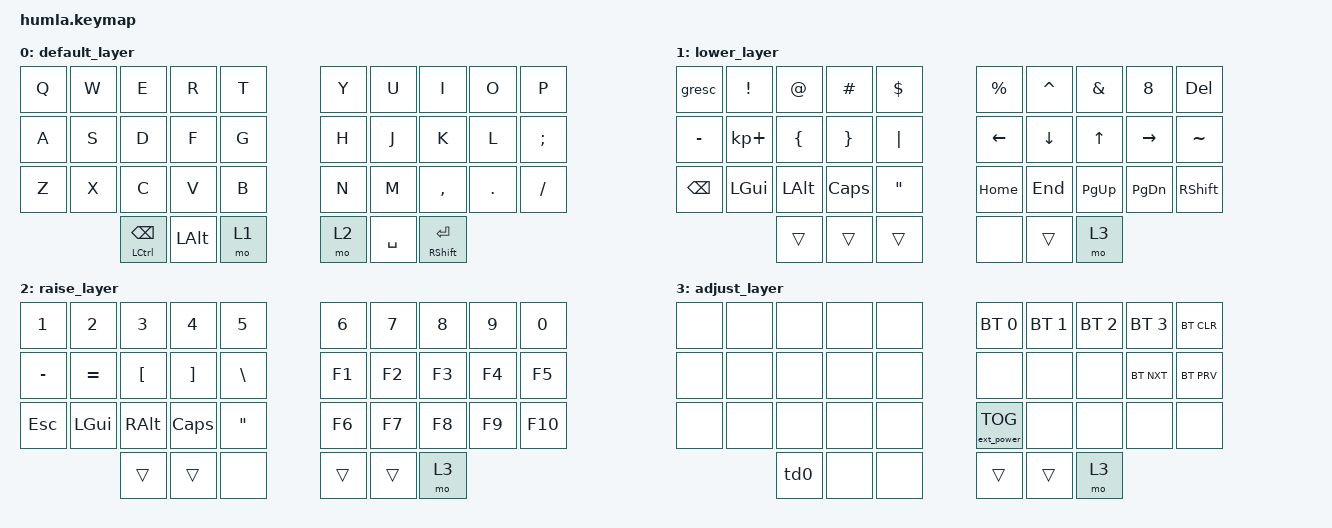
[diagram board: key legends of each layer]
/*
   # Copyright (c) 2023 The ZMK Contributors
   # SPDX-License-Identifier: MIT
 */

#include <behaviors.dtsi>
#include <dt-bindings/zmk/keys.h>
#include <dt-bindings/zmk/bt.h>
#include <dt-bindings/zmk/ext_power.h>

/ {
        behaviors {
            td0: tap_dance_0 {
               compatible = "zmk,behavior-tap-dance";
               label = "TAP_DANCE_0";
               #binding-cells = <0>;
               tapping-term-ms = <200>;
               bindings = <&kp ESC>, <&reset>, <&bootloader>, <&kp ESC>;
            };
        };

        keymap {
                compatible = "zmk,keymap";

                default_layer {
// --------------------------------------------------------------------
// |  Q  |  W  |  E  |  R  |  T    /  \    Y  |  U   |  I  |  O  |  P  |
// |  A  |  S  |  D  |  F  |  G   /    \   H  |  J   |  K  |  L  |  ;  |
// |  Z  |  X  |  C  |  V  |  B  /      \  N  |  M   |  ,  |  .  |  /  |
//             | LCTL(BKSP) | LALT |LWR | RSE | SPC  | LSHFT(RET) |
                        bindings = <
   &kp Q &kp W &kp E &kp R &kp T          &kp Y &kp U   &kp I     &kp O   &kp P
   &kp A &kp S &kp D &kp F &kp G          &kp H &kp J   &kp K     &kp L   &kp SEMI
   &kp Z &kp X &kp C &kp V &kp B          &kp N &kp M   &kp COMMA &kp DOT &kp FSLH
               &mt LCTL BSPC &kp LALT &mo 1 &mo 2 &kp SPC &mt RSHFT RET
                        >;
                };

                lower_layer {
// -------------------------------------------------------------------
// |GRESC|  !  |  @  |  #  |  $    /  \    %  |  ^  |  &  |  *  | DEL |
// |  -  |  +  |  {  |  }  | "|"  /    \  LFT | DWN |  UP | RGT |  `  |
// | BKSP| GUI | ALT | CAPS|  "  /      \ HOME| END | PGUP| PGDN|RSHFT|
//             | LCTL(BKSP) | LALT | LWR| | SPC | ADJUST |
                        bindings = <
   &gresc      &kp EXCL    &kp AT   &kp HASH &kp DLLR       &kp PRCNT   &kp CARET   &kp AMPS    &kp N8      &kp DEL
   &kp MINUS   &kp KP_PLUS &kp LBRC &kp RBRC &kp PIPE       &kp LEFT    &kp DOWN    &kp UP      &kp RIGHT   &kp TILDE
   &kp BSPC    &kp LGUI    &kp LALT &kp CLCK &kp DQT        &kp HOME    &kp END     &kp PG_UP   &kp PG_DN   &kp RSHFT
               &trans &trans &trans &none &trans &mo 3 
                        >;
                };

                raise_layer {
// -------------------------------------------------------------------
// | 1   |  2  |  3  |  4  |  5    /  \    6  |  7  |  8  |  9  |  0  | 
// | -   |  =  |  [  |  ]  |  \   /    \  F1  | F2  | F3  | F4  | F5  | 
// | ESC | GUI |GrALT| CAPS|  "  /      \ F6  | F7  | F8  | F9  | F10 | 
//             | LCTL(BKSP) | LALT | | RSE | SPC  | ADJUST |
                        bindings = <
   &kp N1    &kp N2    &kp N3    &kp N4    &kp N5        &kp N6    &kp N7    &kp N8    &kp N9    &kp N0    
   &kp MINUS &kp EQUAL &kp LBKT  &kp RBKT  &kp BSLH      &kp F1    &kp F2    &kp F3    &kp F4    &kp F5    
   &kp ESC   &kp LGUI  &kp RALT  &kp CLCK  &kp DQT       &kp F6    &kp F7    &kp F8    &kp F9   &kp F10
             &trans &trans &none &trans &trans &mo 3
                        >;
                };

                adjust_layer {
// ------------------------------------------------------------------------------
// |                                       /\              Bluetooth             |
// |                                      /  \   BT1  | BT2 | BT3 | BT4 | BT CLR |
// |                                     /    \       |     |     |BTNxt| BT PRV |
// |                                    /      \ EPTOG|     |     |     |
//      | TD(ESC/RESET/BOOTLOADER/ESC)|  |  | RET | SPC | ADJ
                        bindings = <
   &none &none &none &none &none        &bt BT_SEL 0 &bt BT_SEL 1 &bt BT_SEL 2 &bt BT_SEL 3 &bt BT_CLR
   &none &none &none &none &none        &none &none &none &bt BT_NXT &bt BT_PRV
   &none &none &none &none &none        &ext_power EP_TOG &none &none &none &none
               &td0 &none &none &trans &trans &mo 3
                        >;
                };
        };
};
